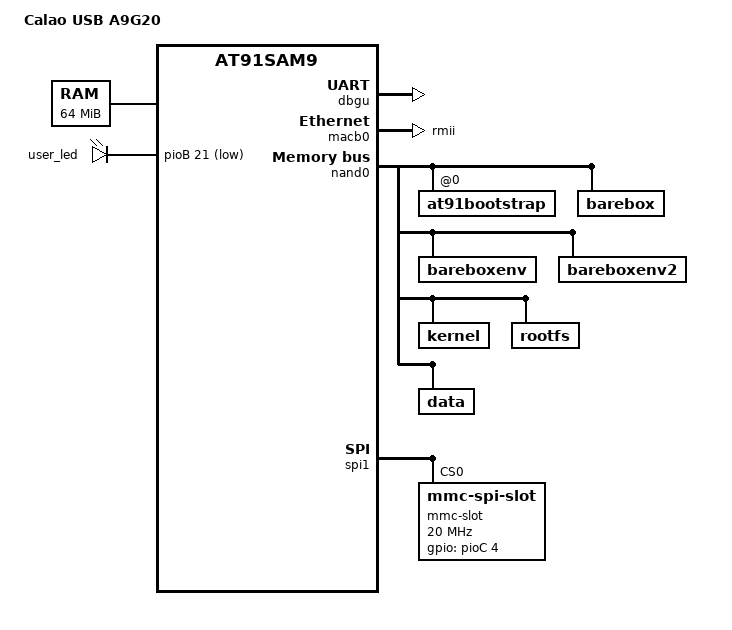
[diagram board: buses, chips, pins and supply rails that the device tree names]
/*
 * usb_a9g20.dts - Device Tree file for Caloa USB A9G20 board
 *
 *  Copyright (C) 2011 Jean-Christophe PLAGNIOL-VILLARD <plagnioj@jcrosoft.com>
 *
 * Licensed under GPLv2 or later.
 */
/dts-v1/;
/include/ "at91sam9g20.dtsi"

/ {
	model = "Calao USB A9G20";
	compatible = "calao,usb-a9g20", "atmel,at91sam9g20", "atmel,at91sam9";

	chosen {
		bootargs = "mem=64M console=ttyS0,115200 root=/dev/mtdblock5 rw rootfstype=ubifs";
	};

	memory@20000000 {
		reg = <0x20000000 0x4000000>;
	};

	ahb {
		apb {
			dbgu: serial@fffff200 {
				status = "okay";
			};

			macb0: ethernet@fffc4000 {
				phy-mode = "rmii";
				status = "okay";
			};

			nand0: nand@40000000 {
				nand-bus-width = <8>;
				nand-ecc-mode = "soft";
				nand-on-flash-bbt = <1>;
				status = "okay";

				at91bootstrap@0 {
					label = "at91bootstrap";
					reg = <0x0 0x20000>;
				};

				barebox@20000 {
					label = "barebox";
					reg = <0x20000 0x40000>;
				};

				bareboxenv@60000 {
					label = "bareboxenv";
					reg = <0x60000 0x20000>;
				};

				bareboxenv2@80000 {
					label = "bareboxenv2";
					reg = <0x80000 0x20000>;
				};

				kernel@a0000 {
					label = "kernel";
					reg = <0xa0000 0x400000>;
				};

				rootfs@4a0000 {
					label = "rootfs";
					reg = <0x4a0000 0x7800000>;
				};

				data@7ca0000 {
					label = "data";
					reg = <0x7ca0000 0x8360000>;
				};

			};

			spi1: spi@fffcc000 {
				ncs-gpios = <&pioB 3 0>;
				status = "okay";
				mmc-slot@0 {
					compatible = "mmc-spi-slot";
					reg = <0>;
					gpios = <&pioC 4 0   /* CD */
						>;
					voltage-ranges = <3200 3400>;
					spi-max-frequency = <20000000>;
				};
			};

			leds {
				compatible = "gpio-leds";

				user_led {
					label = "user_led";
					gpios = <&pioB 21 1>;
					linux,default-trigger = "heartbeat";
				};
			};

		};
	};
};
